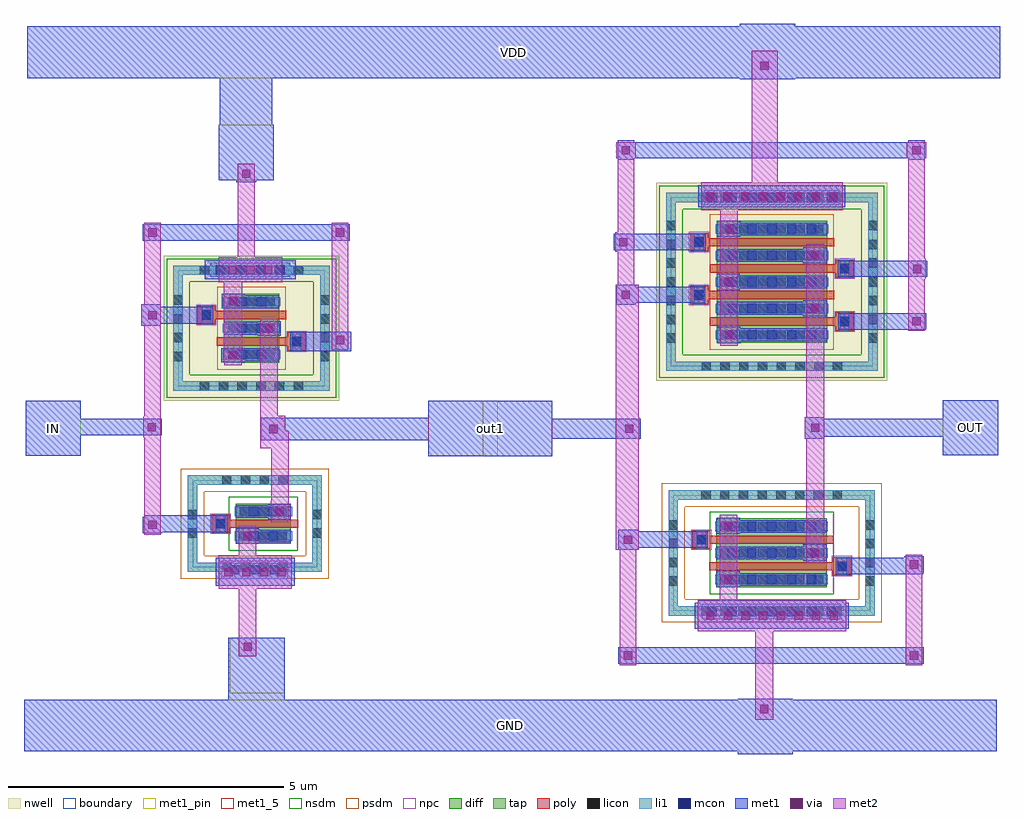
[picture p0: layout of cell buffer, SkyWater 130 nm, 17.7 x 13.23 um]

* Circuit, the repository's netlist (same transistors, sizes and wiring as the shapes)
** sch_path: /foss/designs/modulo3/lab02/xschem/buffer.sch
.subckt buffer VDD GND OUT IN
*.PININFO IN:I OUT:O VDD:B GND:B
x1 VDD IN out1 GND inverter
x2 VDD out1 OUT GND inverterx4
.ends

* expanding   symbol:  modulo3/lab02/xschem/inverter.sym # of pins=4
** sym_path: /foss/designs/modulo3/lab02/xschem/inverter.sym
** sch_path: /foss/designs/modulo3/lab02/xschem/inverter.sch
.subckt inverter VDD IN OUT GND
*.PININFO IN:I OUT:O VDD:B GND:B
XM1 OUT IN GND GND sky130_fd_pr__nfet_01v8 L=0.15 W=1 nf=1 m=1
XM2 OUT IN VDD VDD sky130_fd_pr__pfet_01v8 L=0.15 W=2 nf=2 m=1
.ends


* expanding   symbol:  modulo3/lab02/xschem/inverterx4.sym # of pins=4
** sym_path: /foss/designs/modulo3/lab02/xschem/inverterx4.sym
** sch_path: /foss/designs/modulo3/lab02/xschem/inverterx4.sch
.subckt inverterx4 VDD IN OUT GND
*.PININFO IN:I OUT:O VDD:B GND:B
XM1 OUT IN GND GND sky130_fd_pr__nfet_01v8 L=0.15 W=4 nf=2 m=1
XM2 OUT IN VDD VDD sky130_fd_pr__pfet_01v8 L=0.15 W=8 nf=4 m=1
.ends

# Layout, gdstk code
from math import pi, radians
import gdstk
lib = gdstk.Library(unit=1e-6, precision=1e-09)
def R(c, l, rs):  # rectangles x0, y0, x1, y1
    for r in rs: c.add(gdstk.rectangle(r[:2], r[2:], *l))
def A(c, l, x, y, w, h, nx, ny, dx, dy):  # array of equal rectangles
    R(c, l, [(x+i*dx, y+j*dy, x+i*dx+w, y+j*dy+h) for i in range(nx) for j in range(ny)])
nwell = (64, 20)
diff = (65, 20)
tap = (65, 44)
poly = (66, 20)
licon = (66, 44)
li1 = (67, 20)
mcon = (67, 44)
met1_5 = (68, 5)
met1_pin = (68, 16)
met1 = (68, 20)
via = (68, 44)
met2 = (69, 20)
nsdm = (93, 44)
psdm = (94, 20)
npc = (95, 20)
boundary = (235, 4)

sky130_fd_pr__pfet_01v8_ = lib.new_cell('sky130_fd_pr__pfet_01v8_KJ82MB')
R(sky130_fd_pr__pfet_01v8_, nwell, [(-1.795,-2.095,1.795,2.095)])
R(sky130_fd_pr__pfet_01v8_, diff, [(-1.105,-1,1.105,1)])
R(sky130_fd_pr__pfet_01v8_, tap, [(-1.615,-1.915,1.615,-1.745), (-1.615,-1.745,-1.445,1.745), (1.445,-1.745,1.615,1.745), (-1.615,1.745,1.615,1.915)])
R(sky130_fd_pr__pfet_01v8_, poly, [(-0.885,-1.485,-0.555,-1.155), (0.075,-1.485,0.405,-1.155), (-0.795,-1.155,-0.645,1.13), (0.165,-1.155,0.315,1.13), (-0.315,-1.13,-0.165,1.155), (0.645,-1.13,0.795,1.155), (-0.405,1.155,-0.075,1.485), (0.555,1.155,0.885,1.485)])
A(sky130_fd_pr__pfet_01v8_, licon, -1.105, -1.915, 0.17, 0.17, 7, 2, 0.34, 3.66)
A(sky130_fd_pr__pfet_01v8_, licon, -1.615, -1.275, 0.17, 0.17, 1, 8, 0, 0.34)
A(sky130_fd_pr__pfet_01v8_, licon, 1.445, -1.275, 0.17, 0.17, 1, 8, 0, 0.34)
A(sky130_fd_pr__pfet_01v8_, licon, -1.045, -0.935, 0.17, 0.17, 5, 6, 0.48, 0.34)
R(sky130_fd_pr__pfet_01v8_, licon, [(-0.805,-1.405,-0.635,-1.235), (0.155,-1.405,0.325,-1.235), (-0.325,1.235,-0.155,1.405), (0.635,1.235,0.805,1.405)])
A(sky130_fd_pr__pfet_01v8_, li1, -1.045, -1.02, 0.17, 2.04, 5, 1, 0.48, 0)
R(sky130_fd_pr__pfet_01v8_, li1, [(-1.615,-1.915,1.615,-1.745), (-1.615,-1.745,-1.445,1.745), (1.445,-1.745,1.615,1.745), (-0.885,-1.405,-0.555,-1.235), (0.075,-1.405,0.405,-1.235), (-0.405,1.235,-0.075,1.405), (0.555,1.235,0.885,1.405), (-1.615,1.745,1.615,1.915)])
A(sky130_fd_pr__pfet_01v8_, mcon, -1.045, -0.805, 0.17, 0.17, 5, 5, 0.48, 0.36)
R(sky130_fd_pr__pfet_01v8_, mcon, [(-0.805,-1.405,-0.635,-1.235), (0.155,-1.405,0.325,-1.235), (-0.325,1.235,-0.155,1.405), (0.635,1.235,0.805,1.405)])
A(sky130_fd_pr__pfet_01v8_, met1, -1.075, -1, 0.23, 2, 5, 1, 0.48, 0)
R(sky130_fd_pr__pfet_01v8_, met1, [(-0.865,-1.435,-0.575,-1.205), (0.095,-1.435,0.385,-1.205), (-0.385,1.205,-0.095,1.435), (0.575,1.205,0.865,1.435)])
R(sky130_fd_pr__pfet_01v8_, nsdm, [(-1.74,-2.04,1.74,-1.62), (-1.74,-1.62,-1.32,1.62), (1.32,-1.62,1.74,1.62), (-1.74,1.62,1.74,2.04)])
R(sky130_fd_pr__pfet_01v8_, psdm, [(-1.23,-1.125,1.23,1.125)])
R(sky130_fd_pr__pfet_01v8_, npc, [(-0.905,-1.505,-0.535,-1.135), (0.055,-1.505,0.425,-1.135), (-0.425,1.135,-0.055,1.505), (0.535,1.135,0.905,1.505)])
R(sky130_fd_pr__pfet_01v8_, boundary, [(-1.53,-1.83,1.53,1.83)])
sky130_fd_pr__pfet_01v8_.add(gdstk.Label('B', (0,-1.83), layer=67, texttype=5))
sky130_fd_pr__pfet_01v8_.add(gdstk.Label('D0', (-0.96,0), layer=67, texttype=5))
sky130_fd_pr__pfet_01v8_.add(gdstk.Label('G0', (-0.72,-1.32), layer=67, texttype=5))
sky130_fd_pr__pfet_01v8_.add(gdstk.Label('S1', (-0.48,0), layer=67, texttype=5))
sky130_fd_pr__pfet_01v8_.add(gdstk.Label('G1', (-0.24,1.32), layer=67, texttype=5))
sky130_fd_pr__pfet_01v8_.add(gdstk.Label('D2', (0,0), layer=67, texttype=5))
sky130_fd_pr__pfet_01v8_.add(gdstk.Label('G2', (0.24,-1.32), layer=67, texttype=5))
sky130_fd_pr__pfet_01v8_.add(gdstk.Label('S3', (0.48,0), layer=67, texttype=5))
sky130_fd_pr__pfet_01v8_.add(gdstk.Label('G3', (0.72,1.32), layer=67, texttype=5))

sky130_fd_pr__nfet_01v8_ = lib.new_cell('sky130_fd_pr__nfet_01v8_ENW9XG')
R(sky130_fd_pr__nfet_01v8_, diff, [(-0.625,-1,0.625,1)])
R(sky130_fd_pr__nfet_01v8_, tap, [(-1.135,-1.87,1.135,-1.7), (-1.135,-1.7,-0.965,1.7), (0.965,-1.7,1.135,1.7), (-1.135,1.7,1.135,1.87)])
R(sky130_fd_pr__nfet_01v8_, poly, [(-0.405,-1.44,-0.075,-1.11), (0.165,-1.13,0.315,1.11), (-0.315,-1.11,-0.165,1.13), (0.075,1.11,0.405,1.44)])
A(sky130_fd_pr__nfet_01v8_, licon, -0.595, -1.87, 0.17, 0.17, 4, 2, 0.34, 3.57)
A(sky130_fd_pr__nfet_01v8_, licon, -1.135, -1.275, 0.17, 0.17, 1, 8, 0, 0.34)
A(sky130_fd_pr__nfet_01v8_, licon, 0.965, -1.275, 0.17, 0.17, 1, 8, 0, 0.34)
A(sky130_fd_pr__nfet_01v8_, licon, -0.565, -0.935, 0.17, 0.17, 3, 6, 0.48, 0.34)
R(sky130_fd_pr__nfet_01v8_, licon, [(-0.325,-1.36,-0.155,-1.19), (0.155,1.19,0.325,1.36)])
A(sky130_fd_pr__nfet_01v8_, li1, -0.565, -1.02, 0.17, 2.04, 3, 1, 0.48, 0)
R(sky130_fd_pr__nfet_01v8_, li1, [(-1.135,-1.87,1.135,-1.7), (-1.135,-1.7,-0.965,1.7), (0.965,-1.7,1.135,1.7), (-0.405,-1.36,-0.075,-1.19), (0.075,1.19,0.405,1.36), (-1.135,1.7,1.135,1.87)])
A(sky130_fd_pr__nfet_01v8_, mcon, -0.565, -0.805, 0.17, 0.17, 3, 5, 0.48, 0.36)
R(sky130_fd_pr__nfet_01v8_, mcon, [(-0.325,-1.36,-0.155,-1.19), (0.155,1.19,0.325,1.36)])
A(sky130_fd_pr__nfet_01v8_, met1, -0.595, -1, 0.23, 2, 3, 1, 0.48, 0)
R(sky130_fd_pr__nfet_01v8_, met1, [(-0.385,-1.39,-0.095,-1.16), (0.095,1.16,0.385,1.39)])
R(sky130_fd_pr__nfet_01v8_, nsdm, [(-0.75,-1.125,0.75,1.125)])
R(sky130_fd_pr__nfet_01v8_, psdm, [(-1.26,-1.995,1.26,-1.575), (-1.26,-1.575,-0.84,1.575), (0.84,-1.575,1.26,1.575), (-1.26,1.575,1.26,1.995)])
R(sky130_fd_pr__nfet_01v8_, npc, [(-0.425,-1.46,-0.055,-1.09), (0.055,1.09,0.425,1.46)])
R(sky130_fd_pr__nfet_01v8_, boundary, [(-1.05,-1.785,1.05,1.785)])
sky130_fd_pr__nfet_01v8_.add(gdstk.Label('B', (0,-1.785), layer=67, texttype=5))
sky130_fd_pr__nfet_01v8_.add(gdstk.Label('D0', (-0.48,0), layer=67, texttype=5))
sky130_fd_pr__nfet_01v8_.add(gdstk.Label('G0', (-0.24,-1.275), layer=67, texttype=5))
sky130_fd_pr__nfet_01v8_.add(gdstk.Label('S1', (0,0), layer=67, texttype=5))
sky130_fd_pr__nfet_01v8_.add(gdstk.Label('G1', (0.24,1.275), layer=67, texttype=5))

inverterx4 = lib.new_cell('inverterx4')
R(inverterx4, li1, [(5.8,-5.435,8.33,-5.15), (5.845,2.085,8.295,2.345)])
A(inverterx4, mcon, 5.9, -5.38, 0.17, 0.17, 7, 1, 0.36, 0)
A(inverterx4, mcon, 5.905, 2.13, 0.17, 0.17, 7, 1, 0.36, 0)
R(inverterx4, met1_pin, [(6.45,-7.875,7.45,-6.875), (2.09,-2.48,3.09,-1.48), (10.17,-2.46,11.17,-1.46), (6.49,4.36,7.49,5.36)])
R(inverterx4, met1, [(6.45,-7.875,7.45,-6.875), (4.285,-6.235,9.825,-5.94), (5.675,-5.6,8.465,-5.13), (5.725,-5.13,8.415,-5.085), (6.07,-4.85,6.49,-4.555), (8.225,-4.615,9.815,-4.585), (8.225,-4.585,9.825,-4.32), (7.64,-4.37,8.06,-4.075), (9.47,-4.32,9.825,-4.29), (4.285,-4.17,4.65,-4.135), (4.285,-4.135,5.905,-3.84), (6.07,-3.885,6.49,-3.59), (4.285,-3.84,4.65,-3.805), (2.09,-2.48,3.09,-2.16), (10.17,-2.46,11.17,-2.12), (2.09,-2.16,4.695,-1.8), (7.665,-2.155,8.015,-2.12), (7.665,-2.12,11.17,-1.8), (2.09,-1.8,3.09,-1.48), (7.665,-1.8,8.015,-1.77), (10.17,-1.8,11.17,-1.46), (6.08,-0.425,6.5,-0.13), (8.27,-0.18,9.86,-0.175), (8.27,-0.175,9.87,0.115), (7.64,0.06,8.06,0.355), (9.515,0.115,9.87,0.12), (4.245,0.27,4.6,0.305), (4.245,0.305,5.865,0.6), (6.07,0.535,6.49,0.83), (4.245,0.6,4.6,0.63), (8.265,0.775,9.885,1.07), (7.64,1.02,8.06,1.315), (4.2,1.26,5.87,1.555), (6.08,1.5,6.5,1.795), (5.735,2.035,8.4,2.44), (4.275,2.895,4.57,2.925), (9.545,2.895,9.84,2.925), (4.275,2.925,9.84,3.22), (4.275,3.22,4.57,3.25), (9.545,3.22,9.84,3.25), (6.49,4.36,7.49,5.36)])
A(inverterx4, via, 5.875, -5.44, 0.15, 0.15, 8, 1, 0.32, 0)
A(inverterx4, via, 5.87, 2.16, 0.15, 0.15, 8, 1, 0.32, 0)
R(inverterx4, via, [(6.855,-7.135,7.005,-6.985), (4.385,-6.165,4.535,-6.015), (9.57,-6.165,9.72,-6.015), (6.205,-4.78,6.355,-4.63), (9.57,-4.515,9.72,-4.365), (7.775,-4.3,7.925,-4.15), (4.385,-4.065,4.535,-3.915), (6.205,-3.815,6.355,-3.665), (4.41,-2.055,4.56,-1.905), (7.78,-2.035,7.93,-1.885), (6.215,-0.355,6.365,-0.205), (9.615,-0.105,9.765,0.045), (7.775,0.13,7.925,0.28), (4.345,0.375,4.495,0.525), (6.205,0.605,6.355,0.755), (9.63,0.845,9.78,0.995), (7.775,1.09,7.925,1.24), (4.3,1.33,4.45,1.48), (6.215,1.57,6.365,1.72), (4.345,2.995,4.495,3.145), (9.615,2.995,9.765,3.145), (6.86,4.53,7.01,4.68)])
R(inverterx4, met2, [(6.77,-7.25,7.09,-5.65), (4.315,-6.265,4.61,-4.175), (9.5,-6.265,9.795,-4.26), (5.725,-5.65,8.415,-5.08), (6.12,-5.08,6.44,-3.54), (7.69,-4.42,8.015,-4.025), (4.235,-4.175,4.655,-2.19), (7.695,-4.025,8.015,-2.155), (4.235,-2.19,4.665,-1.77), (7.665,-2.155,8.015,-1.77), (4.235,-1.77,4.655,0.63), (7.695,-1.77,8.015,0.01), (6.13,-0.475,6.45,0.485), (9.545,-0.205,9.84,0.745), (7.69,0.01,8.015,0.405), (7.695,0.405,8.015,0.97), (6.12,0.485,6.45,0.88), (4.275,0.63,4.57,1.23), (9.545,0.745,9.855,1.1), (6.13,0.88,6.45,1.985), (7.69,0.97,8.015,1.355), (9.545,1.1,9.84,2.925), (4.23,1.23,4.57,1.585), (7.69,1.355,8.01,1.365), (4.275,1.585,4.57,2.925), (5.785,1.985,8.35,2.49), (6.7,2.49,7.175,4.875), (4.245,2.925,4.6,3.22), (9.515,2.925,9.87,3.22)])
inverterx4.add(gdstk.Reference(sky130_fd_pr__pfet_01v8_, (7.07,0.685), rotation=3*pi/2))
inverterx4.add(gdstk.Reference(sky130_fd_pr__nfet_01v8_, (7.065,-4.23), rotation=3*pi/2))
inverterx4.add(gdstk.Label('VDD', (6.99,4.86), layer=68, texttype=5))
inverterx4.add(gdstk.Label('IN', (2.59,-1.98), layer=68, texttype=5))
inverterx4.add(gdstk.Label('OUT', (10.67,-1.96), layer=68, texttype=5))
inverterx4.add(gdstk.Label('GND', (6.95,-7.375), layer=68, texttype=5))

c_sky130_fd_pr__pfet_01v8_ = lib.new_cell('sky130_fd_pr__pfet_01v8_GJ6HWT')
R(c_sky130_fd_pr__pfet_01v8_, nwell, [(-1.315,-1.595,1.315,1.595)])
R(c_sky130_fd_pr__pfet_01v8_, diff, [(-0.625,-0.5,0.625,0.5)])
R(c_sky130_fd_pr__pfet_01v8_, tap, [(-1.135,-1.415,1.135,-1.245), (-1.135,-1.245,-0.965,1.245), (0.965,-1.245,1.135,1.245), (-1.135,1.245,1.135,1.415)])
R(c_sky130_fd_pr__pfet_01v8_, poly, [(-0.405,-0.985,-0.075,-0.655), (-0.315,-0.655,-0.165,0.63), (0.165,-0.63,0.315,0.655), (0.075,0.655,0.405,0.985)])
A(c_sky130_fd_pr__pfet_01v8_, licon, -0.595, -1.415, 0.17, 0.17, 4, 2, 0.34, 2.66)
A(c_sky130_fd_pr__pfet_01v8_, licon, -1.135, -0.935, 0.17, 0.17, 1, 6, 0, 0.34)
A(c_sky130_fd_pr__pfet_01v8_, licon, 0.965, -0.935, 0.17, 0.17, 1, 6, 0, 0.34)
A(c_sky130_fd_pr__pfet_01v8_, licon, -0.565, -0.425, 0.17, 0.17, 3, 3, 0.48, 0.34)
R(c_sky130_fd_pr__pfet_01v8_, licon, [(-0.325,-0.905,-0.155,-0.735), (0.155,0.735,0.325,0.905)])
A(c_sky130_fd_pr__pfet_01v8_, li1, -0.565, -0.52, 0.17, 1.04, 3, 1, 0.48, 0)
R(c_sky130_fd_pr__pfet_01v8_, li1, [(-1.135,-1.415,1.135,-1.245), (-1.135,-1.245,-0.965,1.245), (0.965,-1.245,1.135,1.245), (-0.405,-0.905,-0.075,-0.735), (0.075,0.735,0.405,0.905), (-1.135,1.245,1.135,1.415)])
A(c_sky130_fd_pr__pfet_01v8_, mcon, -0.565, -0.265, 0.17, 0.17, 3, 2, 0.48, 0.36)
R(c_sky130_fd_pr__pfet_01v8_, mcon, [(-0.325,-0.905,-0.155,-0.735), (0.155,0.735,0.325,0.905)])
A(c_sky130_fd_pr__pfet_01v8_, met1, -0.595, -0.5, 0.23, 1, 3, 1, 0.48, 0)
R(c_sky130_fd_pr__pfet_01v8_, met1, [(-0.385,-0.935,-0.095,-0.705), (0.095,0.705,0.385,0.935)])
R(c_sky130_fd_pr__pfet_01v8_, nsdm, [(-1.26,-1.54,1.26,-1.12), (-1.26,-1.12,-0.84,1.12), (0.84,-1.12,1.26,1.12), (-1.26,1.12,1.26,1.54)])
R(c_sky130_fd_pr__pfet_01v8_, psdm, [(-0.75,-0.625,0.75,0.625)])
R(c_sky130_fd_pr__pfet_01v8_, npc, [(-0.425,-1.005,-0.055,-0.635), (0.055,0.635,0.425,1.005)])
R(c_sky130_fd_pr__pfet_01v8_, boundary, [(-1.05,-1.33,1.05,1.33)])
c_sky130_fd_pr__pfet_01v8_.add(gdstk.Label('B', (0,-1.33), layer=67, texttype=5))
c_sky130_fd_pr__pfet_01v8_.add(gdstk.Label('D0', (-0.48,0), layer=67, texttype=5))
c_sky130_fd_pr__pfet_01v8_.add(gdstk.Label('G0', (-0.24,-0.82), layer=67, texttype=5))
c_sky130_fd_pr__pfet_01v8_.add(gdstk.Label('S1', (0,0), layer=67, texttype=5))
c_sky130_fd_pr__pfet_01v8_.add(gdstk.Label('G1', (0.24,0.82), layer=67, texttype=5))

c_sky130_fd_pr__nfet_01v8_ = lib.new_cell('sky130_fd_pr__nfet_01v8_VLDN8W')
R(c_sky130_fd_pr__nfet_01v8_, diff, [(-0.365,-0.345,0.365,0.655)])
R(c_sky130_fd_pr__nfet_01v8_, tap, [(-0.875,-1.215,0.875,-1.045), (-0.875,-1.045,-0.705,1.045), (0.705,-1.045,0.875,1.045), (-0.875,1.045,0.875,1.215)])
R(c_sky130_fd_pr__nfet_01v8_, poly, [(-0.165,-0.785,0.165,-0.455), (-0.075,-0.455,0.075,0.785)])
A(c_sky130_fd_pr__nfet_01v8_, licon, -0.875, -0.595, 0.17, 0.17, 1, 4, 0, 0.34)
A(c_sky130_fd_pr__nfet_01v8_, licon, 0.705, -0.595, 0.17, 0.17, 1, 4, 0, 0.34)
A(c_sky130_fd_pr__nfet_01v8_, licon, -0.305, -0.27, 0.17, 0.17, 1, 3, 0, 0.34)
A(c_sky130_fd_pr__nfet_01v8_, licon, 0.135, -0.27, 0.17, 0.17, 1, 3, 0, 0.34)
R(c_sky130_fd_pr__nfet_01v8_, licon, [(-0.255,-1.215,-0.085,-1.045), (0.085,-1.215,0.255,-1.045), (-0.085,-0.705,0.085,-0.535), (-0.255,1.045,-0.085,1.215), (0.085,1.045,0.255,1.215)])
R(c_sky130_fd_pr__nfet_01v8_, li1, [(-0.875,-1.215,0.875,-1.045), (-0.875,-1.045,-0.705,1.045), (0.705,-1.045,0.875,1.045), (-0.165,-0.705,0.165,-0.535), (-0.305,-0.365,-0.135,0.675), (0.135,-0.365,0.305,0.675), (-0.875,1.045,0.875,1.215)])
R(c_sky130_fd_pr__nfet_01v8_, mcon, [(-0.085,-0.705,0.085,-0.535), (-0.305,-0.11,-0.135,0.06), (0.135,-0.11,0.305,0.06), (-0.305,0.25,-0.135,0.42), (0.135,0.25,0.305,0.42)])
R(c_sky130_fd_pr__nfet_01v8_, met1, [(-0.145,-0.735,0.145,-0.505), (-0.335,-0.345,-0.105,0.655), (0.105,-0.345,0.335,0.655)])
R(c_sky130_fd_pr__nfet_01v8_, nsdm, [(-0.49,-0.47,0.49,0.78)])
R(c_sky130_fd_pr__nfet_01v8_, psdm, [(-1,-1.34,1,-0.92), (-1,-0.92,-0.58,0.92), (0.58,-0.92,1,0.92), (-1,0.92,1,1.34)])
R(c_sky130_fd_pr__nfet_01v8_, npc, [(-0.185,-0.805,0.185,-0.435)])
R(c_sky130_fd_pr__nfet_01v8_, boundary, [(-0.79,-1.13,0.79,1.13)])
c_sky130_fd_pr__nfet_01v8_.add(gdstk.Label('B', (0,-1.13), layer=67, texttype=5))
c_sky130_fd_pr__nfet_01v8_.add(gdstk.Label('D', (-0.22,0.155), layer=67, texttype=5))
c_sky130_fd_pr__nfet_01v8_.add(gdstk.Label('S', (0.22,0.155), layer=67, texttype=5))
c_sky130_fd_pr__nfet_01v8_.add(gdstk.Label('G', (0,-0.62), layer=67, texttype=5))

inverter = lib.new_cell('inverter')
R(inverter, li1, [(5.45,-5.73,6.65,-5.4), (5.25,-0.25,6.7,0)])
A(inverter, mcon, 5.605, -5.65, 0.17, 0.17, 3, 1, 0.36, 0)
A(inverter, mcon, 5.35, -0.21, 0.17, 0.17, 4, 1, 0.36, 0)
R(inverter, met1_pin, [(5.6,-7.8,6.6,-6.8), (1.9,-3.5,2.9,-2.5), (9.2,-3.5,10.2,-2.5), (5.4,1.5,6.4,2.5)])
R(inverter, met1, [(5.6,-7.8,6.6,-6.8), (5.35,-5.855,6.775,-5.35), (5.715,-5.095,6.13,-4.815), (4.02,-4.9,4.38,-4.885), (4.02,-4.885,5.56,-4.6), (6.295,-4.655,6.71,-4.375), (4.05,-4.6,5.56,-4.575), (1.9,-3.5,2.9,-3.13), (9.2,-3.5,10.2,-3.22), (6.16,-3.22,10.2,-2.805), (1.9,-3.13,4.37,-2.825), (1.9,-2.825,2.9,-2.5), (9.2,-2.805,10.2,-2.5), (5.45,-1.805,5.87,-1.545), (6.7,-1.6,7.8,-1.25), (6.105,-1.32,6.525,-1.06), (3.995,-1.145,4.35,-1.1), (3.995,-1.1,5.3,-0.8), (5.455,-0.82,5.875,-0.56), (3.995,-0.8,4.35,-0.75), (5.15,-0.3,6.8,0.05), (4.02,0.4,7.78,0.7), (5.715,1.46,6.085,1.5), (5.4,1.5,6.4,2.5)])
A(inverter, via, 5.505, -5.68, 0.15, 0.15, 4, 1, 0.32, 0)
A(inverter, via, 5.58, -0.2, 0.15, 0.15, 3, 1, 0.32, 0)
R(inverter, via, [(5.85,-7.035,6,-6.885), (5.845,-5.03,5.995,-4.88), (4.125,-4.825,4.275,-4.675), (6.425,-4.59,6.575,-4.44), (6.32,-3.09,6.47,-2.94), (4.11,-3.055,4.26,-2.905), (5.585,-1.75,5.735,-1.6), (7.525,-1.475,7.675,-1.325), (6.24,-1.265,6.39,-1.115), (4.125,-1.025,4.275,-0.875), (5.59,-0.765,5.74,-0.615), (4.125,0.475,4.275,0.625), (7.525,0.475,7.675,0.625), (5.825,1.54,5.975,1.69)])
R(inverter, met2, [(5.765,-7.13,6.085,-5.905), (5.4,-5.905,6.725,-5.3), (5.765,-5.3,6.085,-4.765), (4.05,-4.93,4.35,-3.16), (6.345,-4.705,6.66,-4.665), (6.345,-4.665,6.67,-4.325), (6.35,-4.325,6.67,-3.365), (6.155,-3.365,6.67,-3.045), (4.035,-3.16,4.35,-2.795), (6.155,-3.045,6.605,-2.775), (4.05,-2.795,4.35,-1.145), (6.155,-2.775,6.475,-1.01), (5.5,-1.855,5.82,-1.805), (5.495,-1.805,5.825,-0.35), (7.45,-1.58,7.75,0.73), (3.995,-1.145,4.35,-0.75), (4.05,-0.75,4.35,0.73), (5.4,-0.35,6.55,0.1), (5.745,0.1,6.055,1.8)])
inverter.add(gdstk.Reference(c_sky130_fd_pr__pfet_01v8_, (5.995,-1.185), rotation=3*pi/2))
inverter.add(gdstk.Reference(c_sky130_fd_pr__nfet_01v8_, (6.055,-4.73), rotation=3*pi/2))
inverter.add(gdstk.Label('VDD', (5.9,2), layer=68, texttype=5))
inverter.add(gdstk.Label('IN', (2.4,-3), layer=68, texttype=5))
inverter.add(gdstk.Label('OUT', (9.7,-3), layer=68, texttype=5))
inverter.add(gdstk.Label('GND', (6.1,-7.3), layer=68, texttype=5))

buffer = lib.new_cell('buffer')
R(buffer, met1_5, [(7.3,4.29,9.55,5.295)])
R(buffer, met1_pin, [(-0.03,-1.055,17.61,-0.12), (0,4.3,1,5.3), (16.63,4.31,17.63,5.31), (0.025,11.15,17.665,12.085)])
R(buffer, met1, [(-0.03,-1.055,17.61,-0.12), (3.675,-0.12,4.7,0.06), (3.675,0.06,4.69,1), (7.3,4.29,9.55,5.295), (0,4.3,1,5.3), (16.63,4.31,17.63,5.31), (3.515,9.31,4.475,11.15), (0.025,11.15,17.665,12.085)])
buffer.add(gdstk.Reference(inverterx4, (6.46,6.77)))
buffer.add(gdstk.Reference(inverter, (-1.9,7.8)))
buffer.add(gdstk.Label('out1', (8.425,4.792), layer=68, texttype=5))
buffer.add(gdstk.Label('VDD', (8.845,11.617), layer=68, texttype=5))
buffer.add(gdstk.Label('GND', (8.79,-0.587), layer=68, texttype=5))
buffer.add(gdstk.Label('IN', (0.5,4.8), layer=68, texttype=5))
buffer.add(gdstk.Label('OUT', (17.13,4.81), layer=68, texttype=5))

lib.write_gds('buffer.gds')
